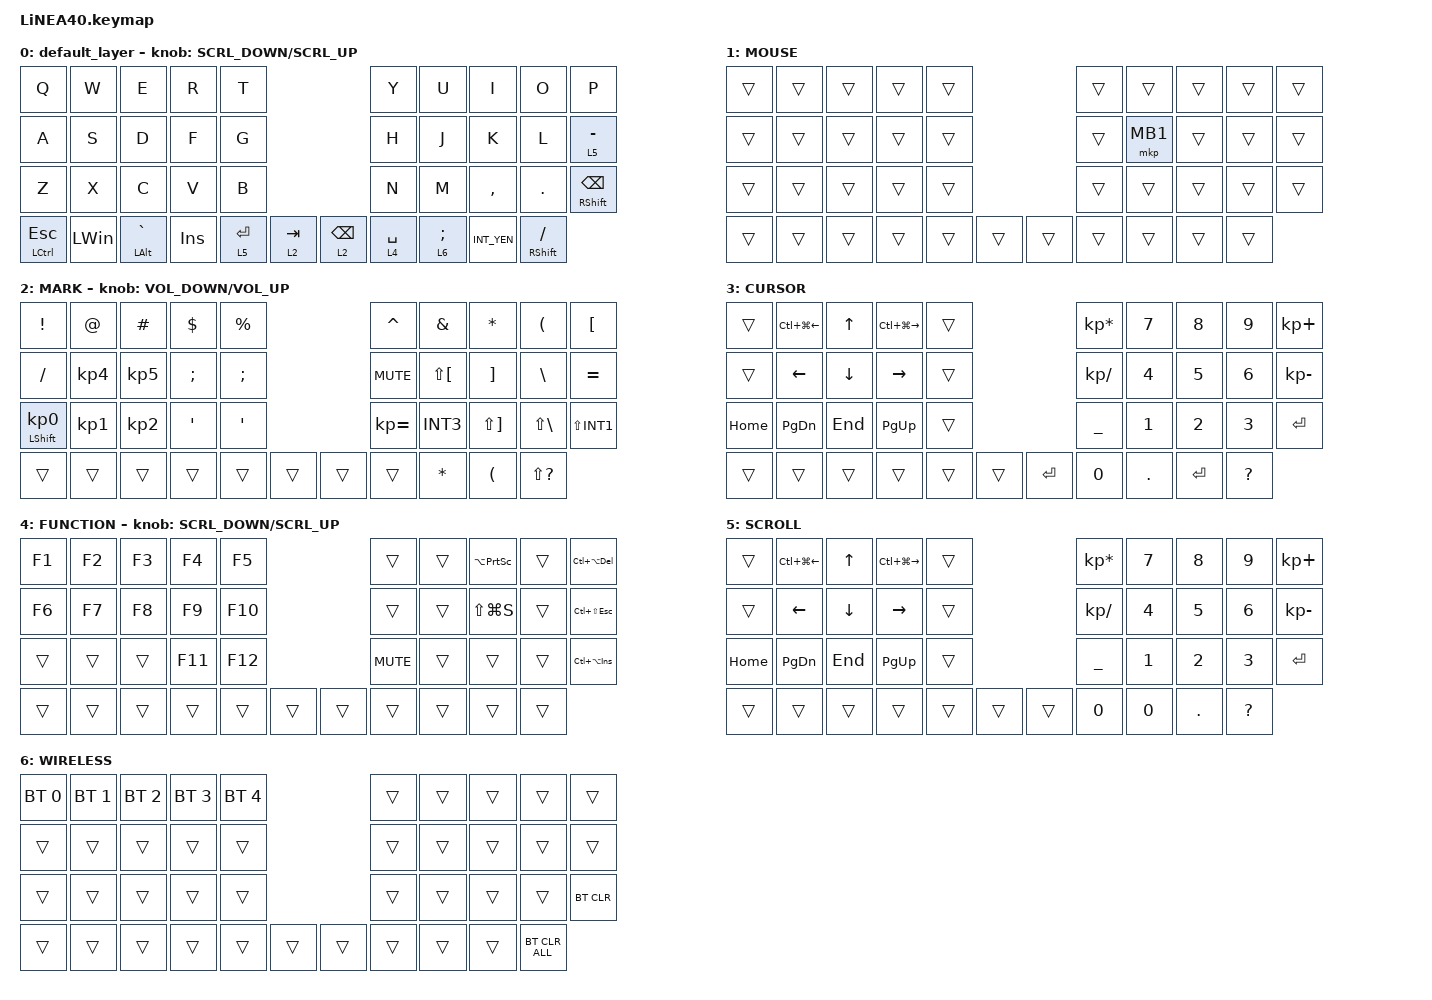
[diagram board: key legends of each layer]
#define ZMK_POINTING_DEFAULT_SCRL_VAL 150
#include <behaviors.dtsi>
#include <dt-bindings/zmk/bt.h>
#include <dt-bindings/zmk/pointing.h>
#include <dt-bindings/zmk/input_transform.h>
#include <input/processors.dtsi>
#include <zephyr/dt-bindings/input/input-event-codes.h>

#define MOUSE 1
#define MARK 2
#define CURSOR 3
#define FUNCTION 4
#define SCROLL 5
#define WIRELESS 6

//mouse cursol
&mmv {
    delay-ms = <20>;
    trigger-period-ms = <5>;
    time-to-max-speed-ms = <100>;
    acceleration-exponent = <2>;
};

//mouse scroll
&msc {
    delay-ms = <3>;
    trigger-period-ms = <3>;
    time-to-max-speed-ms = <100>;
    acceleration-exponent = <0>;
};


/ {
    input_processors {
        zip_wheel_scaler: zip_wheel_scaler {
            compatible = "zmk,input-processor-scaler";
            #input-processor-cells = <2>;
            type = <INPUT_EV_REL>;
            codes = <INPUT_REL_WHEEL>;
            track-remainders;
        };
    };
};

/* ===============================
     *  マクロ定義（追記）
     * =============================== */
    macros {
        exit_AML: exit_AML {
            compatible = "zmk,behavior-macro";
            wait-ms = <0>;
            tap-ms = <0>;
            #binding-cells = <0>;
            bindings = <&tog_off MOUSE>;
            label = "exit_AML";
        };

        kp_exit_AML: kp_exit_AML {
            compatible = "zmk,behavior-macro-one-param";
            wait-ms = <0>;
            tap-ms = <0>;
            #binding-cells = <1>;
            bindings = <&macro_param_1to1 &kp MACRO_PLACEHOLDER &exit_AML>;
            label = "KP_exit_AML";
        };
    };

    /* ===============================
     *  ビヘイビア定義（追記）
     * =============================== */
    behaviors {
        tog_off: toggle_layer_off {
            compatible = "zmk,behavior-toggle-layer";
            #binding-cells = <1>;
            display-name = "Toggle Layer Off";
            toggle-mode = "off";
        };

        mt_exit_AML_on_tap: mt_exit_AML_on_tap {
            compatible = "zmk,behavior-hold-tap";
            label = "MT_exit_AML_ON_TAP";
            bindings = <&kp>, <&kp_exit_AML>;

            #binding-cells = <2>;
            tapping-term-ms = <200>;
            flavor = "balanced";
            quick-tap-ms = <200>;
        };

        re_kp: sensor_rotate_kp {
            compatible = "zmk,behavior-sensor-rotate-var";
            #sensor-binding-cells = <2>;
            bindings = <&kp>, <&kp>;
        };

        mouse_scrl: mouse_wheel_scrl {
            compatible = "zmk,behavior-sensor-rotate-var";
            #sensor-binding-cells = <2>;
            bindings = <&msc>, <&msc>;
            tap-ms = <20>;
        };
    };
};

&msc_input_listener {
    speed_up {
        layers = <FUNCTION>;
        input-processors = <&zip_wheel_scaler 3 1>; //スクロールを3倍速にする
    };
};


&trackball_listener {
    scroller {
        layers = <SCROLL>;
        input-processors = <&zip_xy_transform INPUT_TRANSFORM_Y_INVERT> //スクロール方向を逆転
                         , <&zip_xy_to_scroll_mapper>;
    };
};

/* ===============================
 *  ここから追記部分
 * ===============================
 */

/*
 * Mouse Key Press (mkp) 用 input listener
 * 一定時間（250ms）だけレイヤー2（MARK）を有効化する
 *
 * 例：
 *  - マウスボタン操作時に一時的に MARK レイヤーへ
 *  - レイヤー切替キーを押さずに記号入力などが可能
 */
&mkp_input_listener {
    input-processors = <&zip_temp_layer 2 250>;
};

/ {
        combos {
        compatible = "zmk,combos";

        ZenkakuHankaku {
            bindings = <&kp GRAVE>;
            key-positions = <11 12>;
        };

        DeleteKey {
            bindings = <&kp DEL>;
            key-positions = <7 8>;
        };

        InsertKey {
            bindings = <&kp INS>;
            key-positions = <6 7>;
        };

        CenterClick {
            bindings = <&mkp MB3>;
            key-positions = <17 16>;
        };

        RightClick {
            bindings = <&mkp MB2>;
            key-positions = <18 17>;
        };

        PrevClick {
            bindings = <&mkp MB4>;
            key-positions = <27 28>;
        };

        ClickNext {
            bindings = <&mkp MB5>;
            key-positions = <26 27>;
        };

    };

    behaviors {
        re_kp: sensor_rotate_kp {
            compatible = "zmk,behavior-sensor-rotate-var";
            #sensor-binding-cells = <2>;
            bindings = <&kp>, <&kp>;
        };
        mouse_scrl: mouse_wheel_scrl {
            compatible = "zmk,behavior-sensor-rotate-var";
            #sensor-binding-cells = <2>;
            bindings = <&msc>, <&msc>;
            tap-ms = <20>;
        };
    };

    keymap {
        compatible = "zmk,keymap";

        default_layer {
            bindings = <
                &kp Q          &kp W         &kp E               &kp R    &kp T                                    &kp Y        &kp U     &kp I            &kp O        &kp P
                &kp A          &kp S         &kp D               &kp F    &kp G                                    &kp H        &kp J     &kp K            &kp L        &lt 5 MINUS
                &kp Z          &kp X         &kp C               &kp V    &kp B                                    &kp N        &kp M     &kp COMMA        &kp DOT      &mt RIGHT_SHIFT BACKSPACE
                &mt LCTRL ESC  &kp LEFT_WIN  &mt LEFT_ALT GRAVE  &kp INS  &lt 5 ENTER  &lt 2 TAB  &lt 2 BACKSPACE  &lt 4 SPACE            &lt 6 SEMICOLON  &kp INT_YEN  &mt RIGHT_SHIFT SLASH
            >;
            sensor-bindings = <&mouse_scrl SCRL_DOWN SCRL_UP>;
        };

        //1
        MOUSE {
            bindings = <
                &trans  &trans  &trans  &trans  &trans                    &trans  &trans    &trans  &trans  &trans
                &trans  &trans  &trans  &trans  &trans                    &trans  &mkp MB1  &trans  &trans  &trans
                &trans  &trans  &trans  &trans  &trans                    &trans  &trans    &trans  &trans  &trans
                &trans  &trans  &trans  &trans  &trans  &trans    &trans  &trans            &trans  &trans  &trans
            >;
        };

        //2
        MARK {
            bindings = <
                &kp EXCLAMATION             &kp AT           &kp HASH         &kp DOLLAR     &kp PERCENT                                          &kp CARET     &kp AMPERSAND  &kp ASTERISK           &kp LEFT_PARENTHESIS  &kp LBKT
                &kp SLASH                   &kp KP_NUMBER_4  &kp KP_NUMBER_5  &kp SEMICOLON  &kp SEMICOLON                                        &kp C_MUTE    &kp LS(LBKT)   &kp RIGHT_BRACKET      &kp BACKSLASH         &kp EQUAL
                &mt LEFT_SHIFT KP_NUMBER_0  &kp KP_NUMBER_1  &kp KP_NUMBER_2  &kp APOS       &kp SQT                                              &kp KP_EQUAL  &kp INT3       &kp LS(RIGHT_BRACKET)  &kp LS(BACKSLASH)     &kp LS(INT1)
                &trans                      &trans           &trans           &trans         &trans         &trans          &trans                &trans                       &kp ASTERISK           &kp LEFT_PARENTHESIS  &kp LS(QUESTION)
            >;
            sensor-bindings = <&re_kp C_VOLUME_DOWN C_VOLUME_UP>;
        };

        //3
        CURSOR {
            bindings = <
                &trans    &kp LC(LG(LEFT_ARROW))  &kp UP_ARROW  &kp LC(LG(RIGHT_ARROW))  &trans                       &kp KP_MULTIPLY  &kp NUMBER_7  &kp NUMBER_8  &kp NUMBER_9  &kp KP_PLUS
                &trans    &kp LEFT_ARROW          &kp DOWN      &kp RIGHT_ARROW          &trans                       &kp KP_SLASH     &kp NUMBER_4  &kp NUMBER_5  &kp NUMBER_6  &kp KP_MINUS
                &kp HOME  &kp PAGE_DOWN           &kp END       &kp PAGE_UP              &trans                       &kp UNDER        &kp NUMBER_1  &kp NUMBER_2  &kp NUMBER_3  &kp ENTER
                &trans    &trans                  &trans        &trans                   &trans  &trans    &kp ENTER  &kp NUMBER_0                   &kp DOT       &kp ENTER     &kp QUESTION
            >;
        };

        //4
        FUNCTION {
            bindings = <
                &kp F1  &kp F2  &kp F3  &kp F4   &kp F5                     &trans      &trans  &kp LA(PRINTSCREEN)  &trans  &kp LC(LA(DELETE))
                &kp F6  &kp F7  &kp F8  &kp F9   &kp F10                    &trans      &trans  &kp LS(LG(S))        &trans  &kp LC(LS(ESCAPE))
                &trans  &trans  &trans  &kp F11  &kp F12                    &kp C_MUTE  &trans  &trans               &trans  &kp LC(LA(INS))
                &trans  &trans  &trans  &trans   &trans   &trans   &trans   &trans              &trans               &trans  &trans
            >;
            sensor-bindings = <&mouse_scrl SCRL_DOWN SCRL_UP>;
        };

        //5
        SCROLL {
             bindings = <
                &trans    &kp LC(LG(LEFT_ARROW))  &kp UP_ARROW  &kp LC(LG(RIGHT_ARROW))  &trans                       &kp KP_MULTIPLY  &kp NUMBER_7  &kp NUMBER_8  &kp NUMBER_9  &kp KP_PLUS
                &trans    &kp LEFT_ARROW          &kp DOWN      &kp RIGHT_ARROW          &trans                       &kp KP_SLASH     &kp NUMBER_4  &kp NUMBER_5  &kp NUMBER_6  &kp KP_MINUS
                &kp HOME  &kp PAGE_DOWN           &kp END       &kp PAGE_UP              &trans                       &kp UNDER        &kp NUMBER_1  &kp NUMBER_2  &kp NUMBER_3  &kp ENTER
                &trans    &trans                  &trans        &trans                   &trans  &trans    &trans  &kp NUMBER_0                   &kp NUMBER_0  &kp DOT       &kp QUESTION
            >;
        };

        //6
        WIRELESS {
            bindings = <
                &bt BT_SEL 0  &bt BT_SEL 1  &bt BT_SEL 2  &bt BT_SEL 3  &bt BT_SEL 4                 &trans &trans &trans &trans &trans
                &trans        &trans        &trans        &trans        &trans                       &trans &trans &trans &trans &trans
                &trans        &trans        &trans        &trans        &trans                       &trans &trans &trans &trans &bt BT_CLR
                &trans        &trans        &trans        &trans        &trans        &trans  &trans &trans        &trans &trans &bt BT_CLR_ALL
            >;
        };
    };
};
